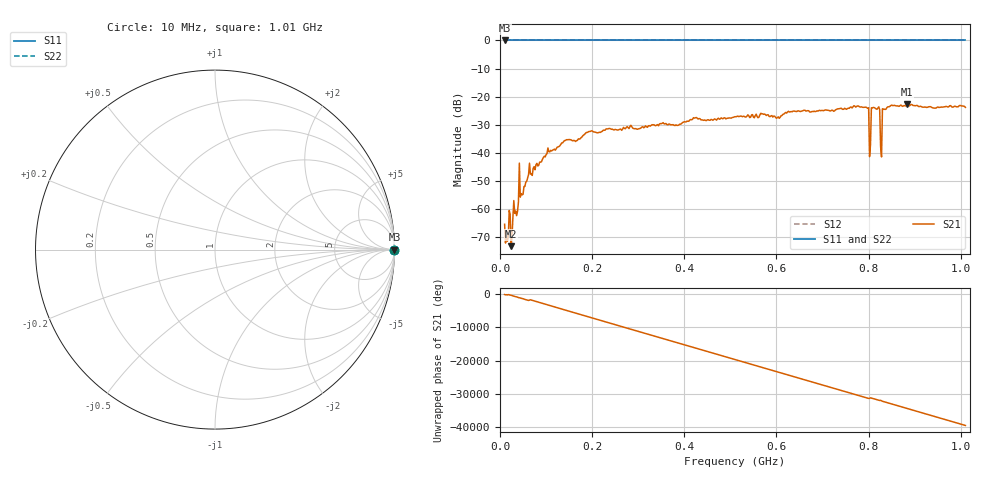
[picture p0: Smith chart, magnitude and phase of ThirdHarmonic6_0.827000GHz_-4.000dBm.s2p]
! 8/16/2025 3:27:40 AM
! C:\ANRITSUVNA\TEMP\TEMP.S2P
! CHANNEL.1
! TR.MEASUREMENT
! RAW.DATA
! RF.CORRECTION.OFF
! AVERAGING.OFF
! IF.BANDWIDTH: 5KHZ
! SWEEPTYPE:  FREQ.SWEEP(Linear)
! Reference Plane Port Info
! PORT:  PORT1  PORT2
! DISTANCE:  0  m  0  m
! TIME:  0  s  0  s
! PHASE.OFFSET:  0  deg.  0  deg.
! LOSS:  0  dB  0  dB
! REF.LOSS:  0  dB  0  dB
! REF.FREQ:  0  Hz  0  Hz
! Power Info
! POWER:  -20  dBm  -20  dBm
! EFF.POWER:  -20  dBm  -20  dBm
! SOURCE.ATTEN:  0  dB  0  dB
! TEST.ATTEN:  0  dB  0  dB
# GHZ S RI R 50.0
! FREQ.GHZ  S11RE  S11IM  S21RE  S21IM  S12RE  S12IM  S22RE  S22IM
!; PortSelection: Port_12
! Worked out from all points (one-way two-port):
!   501 points, 10 MHz to 1.01 GHz, reference 50 ohm
!   highest |S21| = -22.73 dB at 884 MHz (marker M1); lowest = -73.2 dB at 24 MHz (marker M2)
!   lowest |S11| = 0.0 dB at 10 MHz (marker M3)
!   |S11| at or under -10 dB: nowhere
!   |S22| runs from 0.0 to 0.0 dB; largest |S21 - S12| = 1.1
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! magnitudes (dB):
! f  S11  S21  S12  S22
! 10 MHz  0.0  -65.4  0.0  0.0
! 14 MHz  0.0  -67.9  0.0  0.0
! 24 MHz  0.0  -73.2  0.0  0.0
! 44 MHz  0.0  -55.8  0.0  0.0
! 48 MHz  0.0  -55.0  0.0  0.0
! 64 MHz  0.0  -43.7  0.0  0.0
! 106 MHz  0.0  -39.6  0.0  0.0
! 178 MHz  0.0  -34.3  0.0  0.0
! 344 MHz  0.0  -30.4  0.0  0.0
! 510 MHz  0.0  -27.1  0.0  0.0
! 678 MHz  0.0  -25.3  0.0  0.0
! 796 MHz  0.0  -23.9  0.0  0.0
! 802 MHz  0.0  -41.4  0.0  0.0
! 806 MHz  0.0  -24.0  0.0  0.0
! 810 MHz  0.0  -23.8  0.0  0.0
! 818 MHz  0.0  -24.5  0.0  0.0
! 824 MHz  0.0  -24.7  0.0  0.0
! 828 MHz  0.0  -41.5  0.0  0.0
! 834 MHz  0.0  -24.5  0.0  0.0
! 844 MHz  0.0  -23.6  0.0  0.0
! 884 MHz  0.0  -22.7  0.0  0.0
! 1.01 GHz  0.0  -23.8  0.0  0.0
